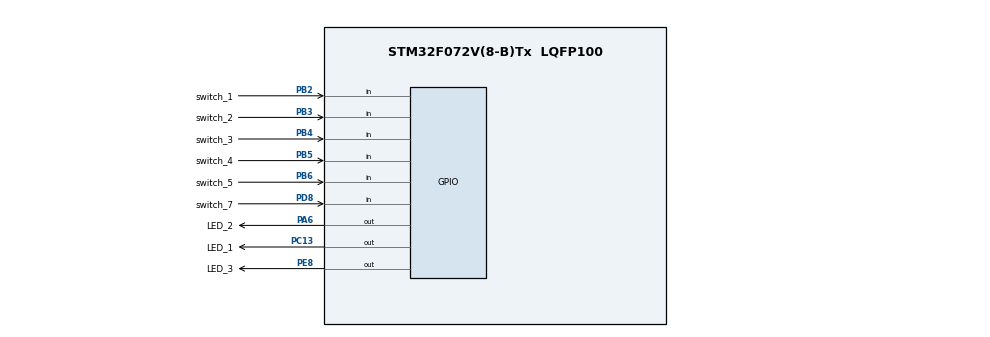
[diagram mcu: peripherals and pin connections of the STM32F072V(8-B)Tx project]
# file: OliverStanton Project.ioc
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Mcu.Family=STM32F0
Mcu.Name=STM32F072V(8-B)Tx
Mcu.Package=LQFP100
PA6.GPIO_Label=LED_2
PA6.Signal=GPIO_Output
PB2.GPIO_Label=switch_1
PB2.Signal=GPIO_Input
PB3.GPIO_Label=switch_2
PB3.Signal=GPIO_Input
PB4.GPIO_Label=switch_3
PB4.Signal=GPIO_Input
PB5.GPIO_Label=switch_4
PB5.Signal=GPIO_Input
PB6.GPIO_Label=switch_5
PB6.Signal=GPIO_Input
PC13.GPIO_Label=LED_1
PC13.Signal=GPIO_Output
PD8.GPIO_Label=switch_7
PD8.Signal=GPIO_Input
PE8.GPIO_Label=LED_3
PE8.Signal=GPIO_Output
ProjectManager.HeapSize=0x200
ProjectManager.StackSize=0x400
ProjectManager.TargetToolchain=STM32CubeIDE
board=custom

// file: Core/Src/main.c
/* USER CODE BEGIN Header */
/**
  ******************************************************************************
  * @file           : main.c
  * @brief          : Main program body
  ******************************************************************************
  * @attention
  *
  * Copyright (c) 2023 STMicroelectronics.
  * All rights reserved.
  *
  * This software is licensed under terms that can be found in the LICENSE file
  * in the root directory of this software component.
  * If no LICENSE file comes with this software, it is provided AS-IS.
  *
  ******************************************************************************
  */
/* USER CODE END Header */
#include "main.h"
#include "gpio.h"

void SystemClock_Config(void);

int main(void)
{

  /* MCU Configuration--------------------------------------------------------*/

  /* Reset of all peripherals, Initializes the Flash interface and the Systick. */
  HAL_Init();

  /* Configure the system clock */
  SystemClock_Config();

  /* Initialize all configured peripherals */
  MX_GPIO_Init();
  /* USER CODE BEGIN 2 */
  int a = 0;
  while (1)
  {
    a++;
	if (HAL_GPIO_ReadPin (switch_1_GPIO_Port , switch_1_Pin) == GPIO_PIN_RESET) {
 		HAL_GPIO_TogglePin(LED_1_GPIO_Port , LED_1_Pin);
		HAL_GPIO_TogglePin(LED_2_GPIO_Port , LED_2_Pin);
		HAL_GPIO_TogglePin(LED_3_GPIO_Port , LED_3_Pin);
	}

	if (HAL_GPIO_ReadPin (switch_2_GPIO_Port , switch_2_Pin) == GPIO_PIN_RESET) {
		HAL_GPIO_TogglePin(LED_1_GPIO_Port , LED_1_Pin);
		HAL_GPIO_TogglePin(LED_2_GPIO_Port , LED_2_Pin);
		HAL_GPIO_TogglePin(LED_3_GPIO_Port , LED_3_Pin);

	}

	if (HAL_GPIO_ReadPin (switch_3_GPIO_Port , switch_3_Pin) == GPIO_PIN_RESET) {
		HAL_GPIO_TogglePin(LED_1_GPIO_Port , LED_1_Pin);
		HAL_GPIO_TogglePin(LED_2_GPIO_Port , LED_2_Pin);
		HAL_GPIO_TogglePin(LED_3_GPIO_Port , LED_3_Pin);

	}

	if (HAL_GPIO_ReadPin (switch_4_GPIO_Port , switch_4_Pin) == GPIO_PIN_RESET) {
		HAL_GPIO_TogglePin(LED_1_GPIO_Port , LED_1_Pin);
		HAL_GPIO_TogglePin(LED_2_GPIO_Port , LED_2_Pin);
		HAL_GPIO_TogglePin(LED_3_GPIO_Port , LED_3_Pin);

	}

	if (HAL_GPIO_ReadPin (switch_5_GPIO_Port , switch_5_Pin) == GPIO_PIN_RESET) {
		HAL_GPIO_TogglePin(LED_1_GPIO_Port , LED_1_Pin);
		HAL_GPIO_TogglePin(LED_2_GPIO_Port , LED_2_Pin);
		HAL_GPIO_TogglePin(LED_3_GPIO_Port , LED_3_Pin);

	}

	if (HAL_GPIO_ReadPin (switch_7_GPIO_Port , switch_7_Pin) == GPIO_PIN_RESET) {
		HAL_GPIO_TogglePin(LED_1_GPIO_Port , LED_1_Pin);
		HAL_GPIO_TogglePin(LED_2_GPIO_Port , LED_2_Pin);
		HAL_GPIO_TogglePin(LED_3_GPIO_Port , LED_3_Pin);

	}

//    HAL_GPIO_TogglePin(LED_1_GPIO_Port , LED_1_Pin); //Toggle the state of pin PC9
//    HAL_GPIO_TogglePin(LED_2_GPIO_Port , LED_2_Pin); //Toggle the state of pin PC9
//    HAL_GPIO_TogglePin(LED_3_GPIO_Port , LED_3_Pin);
//    HAL_Delay(100); //delay 100ms
  }
  /* USER CODE END 2 */

  /* Infinite loop */
  while (1)
  {

  }
}

void SystemClock_Config(void)
{
  RCC_OscInitTypeDef RCC_OscInitStruct = {0};
  RCC_ClkInitTypeDef RCC_ClkInitStruct = {0};

  /** Initializes the RCC Oscillators according to the specified parameters
  * in the RCC_OscInitTypeDef structure.
  */
  RCC_OscInitStruct.OscillatorType = RCC_OSCILLATORTYPE_HSI;
  RCC_OscInitStruct.HSIState = RCC_HSI_ON;
  RCC_OscInitStruct.HSICalibrationValue = RCC_HSICALIBRATION_DEFAULT;
  RCC_OscInitStruct.PLL.PLLState = RCC_PLL_NONE;
  if (HAL_RCC_OscConfig(&RCC_OscInitStruct) != HAL_OK)
  {
    Error_Handler();
  }

  /** Initializes the CPU, AHB and APB buses clocks
  */
  RCC_ClkInitStruct.ClockType = RCC_CLOCKTYPE_HCLK|RCC_CLOCKTYPE_SYSCLK
                              |RCC_CLOCKTYPE_PCLK1;
  RCC_ClkInitStruct.SYSCLKSource = RCC_SYSCLKSOURCE_HSI;
  RCC_ClkInitStruct.AHBCLKDivider = RCC_SYSCLK_DIV1;
  RCC_ClkInitStruct.APB1CLKDivider = RCC_HCLK_DIV1;

  if (HAL_RCC_ClockConfig(&RCC_ClkInitStruct, FLASH_LATENCY_0) != HAL_OK)
  {
    Error_Handler();
  }
}

void Error_Handler(void)
{
  __disable_irq();
  while (1)
  {
  }
}
